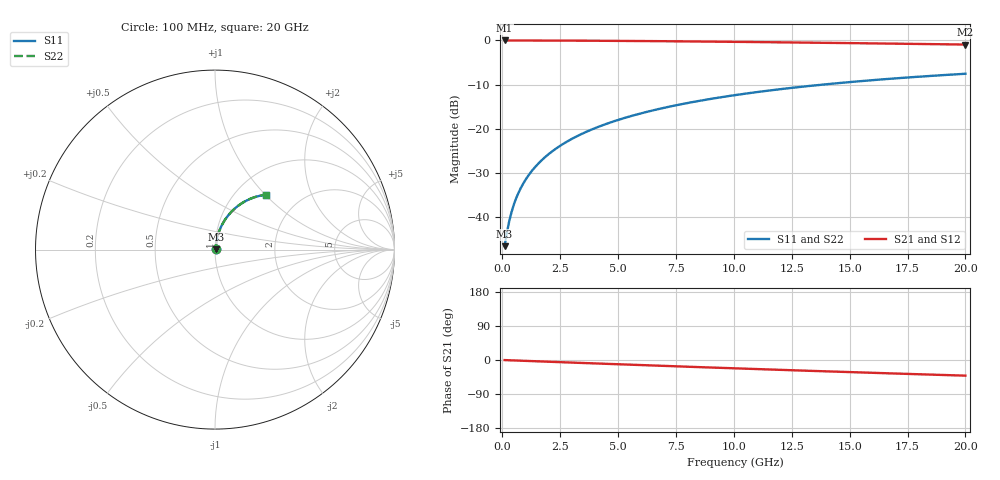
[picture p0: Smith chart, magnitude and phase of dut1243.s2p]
! Touchstone file exported from HFSS 2026.1.0
!  File:  C:/ffzhzh/LocalFiles/Ansys_Project_Files/temp_train_BSMRDL_1243_1783177190_18472.aedt
!  Generated:  11:01:02 PM Jul  4, 2026
!  Design:  BSMRDL
!  Project:  temp_train_BSMRDL_1243_1783177190_18472
! Variables:
!  h_bsmrdl = 3.93um
!  h_ox = 20um
!  h_rdl = 5um
!  h_sub = 80um
!  h_tmrdl = 5um
!  h_tsv = 80um
!  h_via = 3um
!  l_bsmrdl = 583.78um
!  l_sub = 983.78um
!  l_tmrdl = 200um
!  m_sub = 200um
!  pitch = 40.72um
!  r_tsv = 6um
!  s_tmrdl = 10um
!  w_bsmrdl = 14.12um
!  w_sub = 500um
!  w_tmrdl = 12um
!  x_tsv_center1 = 206um
!  x_tsv_center2 = 803.9um
!  x_tsv_center3 = 1015.9um
!  x_tsv_center4 = 1613.8um
!  x_tsv_center5 = 1825.8um
!  x_tsv_center6 = 2423.7um
# GHz S MA R 50.000000
! Terminal data exported
! Port[1] = BSM_RDL1_1_T1
! Port[2] = BSM_RDL1_1_T2
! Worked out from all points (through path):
!   200 points, 100 MHz to 20 GHz, reference 50 ohm
!   highest |S21| = -0.03 dB at 100 MHz (marker M1); lowest = -1.0 dB at 20 GHz (marker M2)
!   group delay of S21, straight-line fit = 5.74 ps
!   lowest |S11| = -46.6 dB at 100 MHz (marker M3), VSWR 1.01, Z = 50.4 + j0.273 ohm
!   |S11| at or under -10 dB: start of sweep to 13.88 GHz
!   |S22| runs from -46.6 to -7.6 dB; largest |S21 - S12| = 2.6e-15
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0.1  0.004685 35.3  0.9962 -0.2  0.9962 -0.2  0.004685 35.3
! Gamma 0 0 0 0
! Port Impedance 50 0 50 0
0.2  0.006668 53.8  0.9961 -0.5  0.9961 -0.5  0.006668 53.8
0.3  0.008993 62.9  0.996 -0.7  0.996 -0.7  0.008993 62.9
0.4  0.01142 68.0  0.9958 -0.9  0.9958 -0.9  0.01142 68.0
0.5  0.01388 71.2  0.9957 -1.2  0.9957 -1.2  0.01388 71.2
0.6  0.01635 73.4  0.9956 -1.4  0.9956 -1.4  0.01635 73.4
0.8  0.02133 76.2  0.9954 -1.8  0.9954 -1.8  0.02133 76.2
1.1  0.02884 78.3  0.9951 -2.5  0.9951 -2.5  0.02884 78.3
1.3  0.03387 79.1  0.9948 -3.0  0.9948 -3.0  0.03387 79.1
1.6  0.04143 79.7  0.9944 -3.6  0.9944 -3.6  0.04143 79.7
2.1  0.05403 79.9  0.9936 -4.8  0.9936 -4.8  0.05402 79.9
2.7  0.06909 79.5  0.9924 -6.1  0.9924 -6.1  0.06909 79.5
3.5  0.089 78.4  0.9903 -7.9  0.9903 -7.9  0.08899 78.4
4.2  0.1062 77.2  0.9882 -9.5  0.9882 -9.5  0.1062 77.2
5  0.1256 75.7  0.9853 -11.2  0.9853 -11.2  0.1256 75.7
5.9  0.147 73.9  0.9818 -13.2  0.9818 -13.2  0.147 73.9
6.8  0.168 72.1  0.9778 -15.2  0.9778 -15.2  0.168 72.1
8.3  0.2019 69.1  0.9705 -18.4  0.9705 -18.4  0.2019 69.1
10.1  0.2409 65.5  0.9606 -22.1  0.9606 -22.1  0.2409 65.5
13.4  0.3071 59.1  0.9403 -28.8  0.9403 -28.8  0.3071 59.1
16.7  0.3663 52.9  0.9183 -35.2  0.9183 -35.2  0.3663 52.9
20  0.4183 47.0  0.8955 -41.3  0.8955 -41.3  0.4183 47.0
